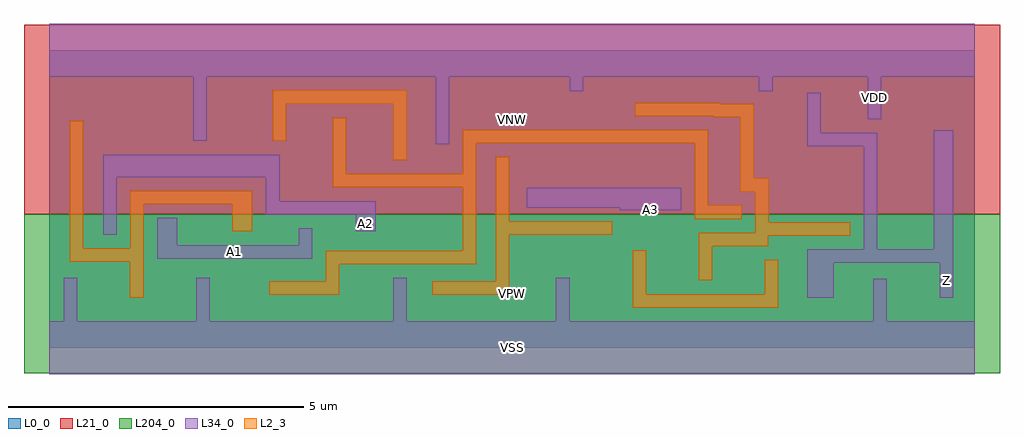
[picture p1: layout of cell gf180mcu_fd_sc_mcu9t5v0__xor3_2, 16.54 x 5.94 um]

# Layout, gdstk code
import gdstk
lib = gdstk.Library(unit=1e-6, precision=1e-09)
def R(c, l, rs):  # rectangles x0, y0, x1, y1
    for r in rs: c.add(gdstk.rectangle(r[:2], r[2:], *l))
L0_0 = (0, 0)
L2_3 = (2, 3)
L21_0 = (21, 0)
L34_0 = (34, 0)
L204_0 = (204, 0)

gf180mcu_fd_sc_mcu9t5v0_ = lib.new_cell('gf180mcu_fd_sc_mcu9t5v0__xor3_2')
R(gf180mcu_fd_sc_mcu9t5v0_, L0_0, [(0,0,15.68,5.04)])
R(gf180mcu_fd_sc_mcu9t5v0_, L2_3, [(9.885,0.68,12.355,0.91), (1.365,0.845,1.6,1.455), (3.73,0.9,4.915,1.13), (6.49,0.9,7.795,1.13), (9.885,0.91,10.115,1.655), (12.125,0.91,12.355,1.49), (4.685,1.13,4.915,1.415), (7.565,1.13,7.795,1.91), (11.005,1.14,11.235,1.72), (4.685,1.415,7.235,1.645), (0.345,1.455,1.6,1.685), (7.005,1.645,7.235,2.715), (0.345,1.685,0.575,3.85), (1.37,1.685,1.6,2.43), (11.005,1.72,12.185,1.9), (11.005,1.9,13.57,1.95), (7.565,1.91,9.54,2.14), (11.96,1.95,13.57,2.13), (3.1,1.97,3.44,2.43), (11.96,2.13,12.19,2.64), (7.565,2.14,7.795,3.235), (10.94,2.18,11.73,2.41), (10.94,2.41,11.17,3.465), (1.37,2.43,3.44,2.66), (11.71,2.64,12.19,2.87), (4.805,2.715,7.235,2.945), (11.71,2.87,11.94,3.905), (4.805,2.945,5.035,3.9), (7.005,2.945,7.235,3.465), (5.825,3.175,6.055,4.13), (7.005,3.465,11.17,3.695), (3.785,3.51,4.015,4.13), (11.265,3.905,11.94,3.925), (9.93,3.925,11.94,4.135), (3.785,4.13,6.055,4.36), (9.93,4.135,11.36,4.155)])
R(gf180mcu_fd_sc_mcu9t5v0_, L21_0, [(-0.43,2.265,16.11,5.47)])
R(gf180mcu_fd_sc_mcu9t5v0_, L34_0, [(0,-0.45,15.68,0.45), (0.245,0.45,0.475,1.185), (2.485,0.45,2.715,1.185), (5.825,0.45,6.055,1.185), (8.585,0.45,8.815,1.185), (13.965,0.45,14.195,1.165), (12.845,0.845,13.29,1.44), (15.085,0.845,15.315,1.44), (12.845,1.44,15.315,1.67), (1.83,1.51,4.455,1.74), (13.8,1.67,14.03,3.415), (14.985,1.67,15.315,3.685), (1.83,1.74,2.17,2.2), (4.225,1.74,4.455,2.025), (0.91,1.915,1.14,2.89), (5.19,1.97,5.53,2.255), (3.67,2.255,5.53,2.485), (9.67,2.33,10.71,2.37), (8.09,2.37,10.71,2.71), (3.67,2.485,3.9,2.89), (0.91,2.89,3.9,3.27), (12.845,3.415,14.03,3.645), (6.545,3.45,6.775,4.59), (2.435,3.51,2.665,4.59), (12.845,3.645,13.075,4.32), (13.865,3.875,14.095,4.59), (8.815,4.35,9.045,4.59), (12.025,4.35,12.255,4.59), (0,4.59,15.68,5.49)])
R(gf180mcu_fd_sc_mcu9t5v0_, L204_0, [(-0.43,-0.43,16.11,2.265)])
gf180mcu_fd_sc_mcu9t5v0_.add(gdstk.Label('A1', (3.142,1.625), layer=34, texttype=10))
gf180mcu_fd_sc_mcu9t5v0_.add(gdstk.Label('A2', (5.36,2.112), layer=34, texttype=10))
gf180mcu_fd_sc_mcu9t5v0_.add(gdstk.Label('A3', (10.19,2.35), layer=34, texttype=10))
gf180mcu_fd_sc_mcu9t5v0_.add(gdstk.Label('Z', (15.2,1.142), layer=34, texttype=10))
gf180mcu_fd_sc_mcu9t5v0_.add(gdstk.Label('VDD', (13.98,4.232), layer=34, texttype=10))
gf180mcu_fd_sc_mcu9t5v0_.add(gdstk.Label('VSS', (7.84,0), layer=34, texttype=10))
gf180mcu_fd_sc_mcu9t5v0_.add(gdstk.Label('VNW', (7.84,3.867), layer=3, texttype=1))
gf180mcu_fd_sc_mcu9t5v0_.add(gdstk.Label('VPW', (7.84,0.917), layer=4, texttype=1))

lib.write_gds('gf180mcu_fd_sc_mcu9t5v0__xor3_2.gds')
